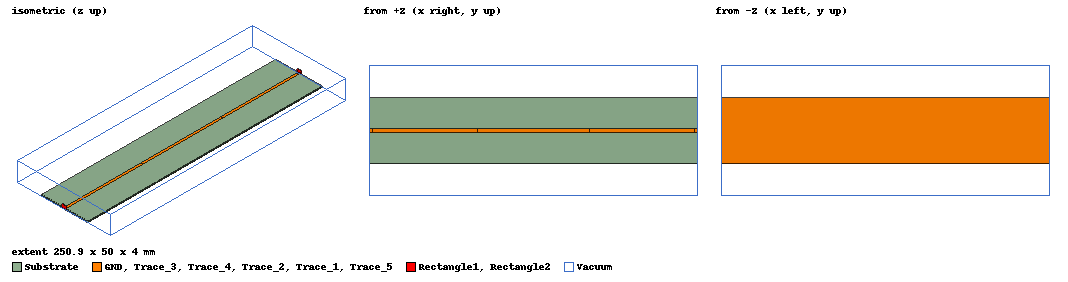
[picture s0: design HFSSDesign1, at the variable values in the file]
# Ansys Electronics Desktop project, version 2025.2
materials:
  vacuum: permittivity=1
  copper: permeability=0.999991 conductivity=58000000
  Material1: permittivity=3.3 dielectric_loss_tangent=0.003
  air: permittivity=1.0006 permeability=1.0000004

design HFSSDesign1 (HFSS, HFSS Terminal Network, model units mm)
options: Calculate_Lossy_Dielectrics
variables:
  W_gnd = 50mm
  L_gnd = 2*L_micro1+L_micro2+2*L_micro_excit+G_in*2+G_out*2
  copper_height = 0.035mm
  L_micro1 = 80.4mm
  L_micro2 = 85.9mm
  G_out = 0.03mm
  G_in = 0.06mm
  L_micro_excit = 2mm
  sub_height = 0.8mm
  W_micro = 2.3mm
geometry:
  GND [copper] = box(corner=(-L_gnd/2, -W_gnd/2, 0mm), size=(L_gnd, W_gnd, copper_height))
  Substrate [Material1] = box(corner=(-L_gnd/2, -W_gnd/2, copper_height), size=(L_gnd, W_gnd, sub_height))
  Trace_1 [copper] = box(corner=(-L_gnd/2, -W_micro/2, copper_height+sub_height), size=(L_micro_excit, W_micro, copper_height))
  Trace_2 [copper] = box(corner=(-L_gnd/2+L_micro_excit+G_out, -W_micro/2, copper_height+sub_height), size=(L_micro1, W_micro, copper_height))
  Trace_3 [copper] = box(corner=(-L_gnd/2+L_micro_excit+G_out+L_micro1+G_in, -W_micro/2, copper_height+sub_height), size=(L_micro2, W_micro, copper_height))
  Trace_4 [copper] = box(corner=(-L_gnd/2+L_micro_excit+G_out+L_micro1+G_in*2+L_micro2, -W_micro/2, copper_height+sub_height), size=(L_micro1, W_micro, copper_height))
  Trace_5 [copper] = box(corner=(-L_gnd/2+L_micro_excit+G_out*2+L_micro1+L_micro1+G_in*2+L_micro2, -W_micro/2, copper_height+sub_height), size=(L_micro_excit, W_micro, copper_height))
  Vacuum [air] = box(corner=(-L_gnd/2, -50mm, 0), size=(L_gnd, 100mm, 20mm))
  Rectangle1 = rectangle(corner=(-L_gnd/2, -3*sub_height, 0mm), y_size=6*sub_height, z_size=5*sub_height)
  Rectangle2 = rectangle(corner=(L_gnd/2, -3*sub_height, 0mm), y_size=6*sub_height, z_size=5*sub_height)
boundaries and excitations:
  Trace_1_T1: Terminal port=1 Faces=Trace_1.face(-x) TerminalResistance=50ohm
  Trace_5_T1: Terminal port=2 Faces=Trace_5.face(+x) TerminalResistance=50ohm
  1: Wave Port Faces=Rectangle1.face WavePortType=Terminal NumModes=1 SpecifiedWaveDirectionFlip
  2: Wave Port Faces=Rectangle2.face WavePortType=Terminal NumModes=1
  reference conductors: GND
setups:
  Setup1: HfssDriven Frequency=1GHz MaxDeltaS=0.02 MaximumPasses=10 MinimumPasses=1 MinimumConvergedPasses=1 PercentRefinement=30 BasisOrder=1 PortAccuracy=2 DrivenSolverType="Direct Solver"
    sweep Sweep: 0.5GHz to 1.5GHz step 0.01GHz; Type=Interpolating InterpTolerance=0.5 InterpMaxSolns=250 PassivityErrorTolerance=0.0001
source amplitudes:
  1:1: 1V 0deg
  2:1: 0V 0deg
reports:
  Terminal S Parameter Plot1: dB(St(Trace_1_T1,Trace_1_T1)) vs Freq on Setup1 : Sweep; markers MX1 at x=1e+09, MY1 at y=-10
  Terminal S Parameter Plot2: dB(St(Trace_5_T1,Trace_1_T1)) vs Freq on Setup1 : Sweep; markers MX1 at x=1.2e+09, MX2 at x=8e+08, MX3 at x=1e+09, MX4 at x=9.5e+08, MX5 at x=1.05e+09
